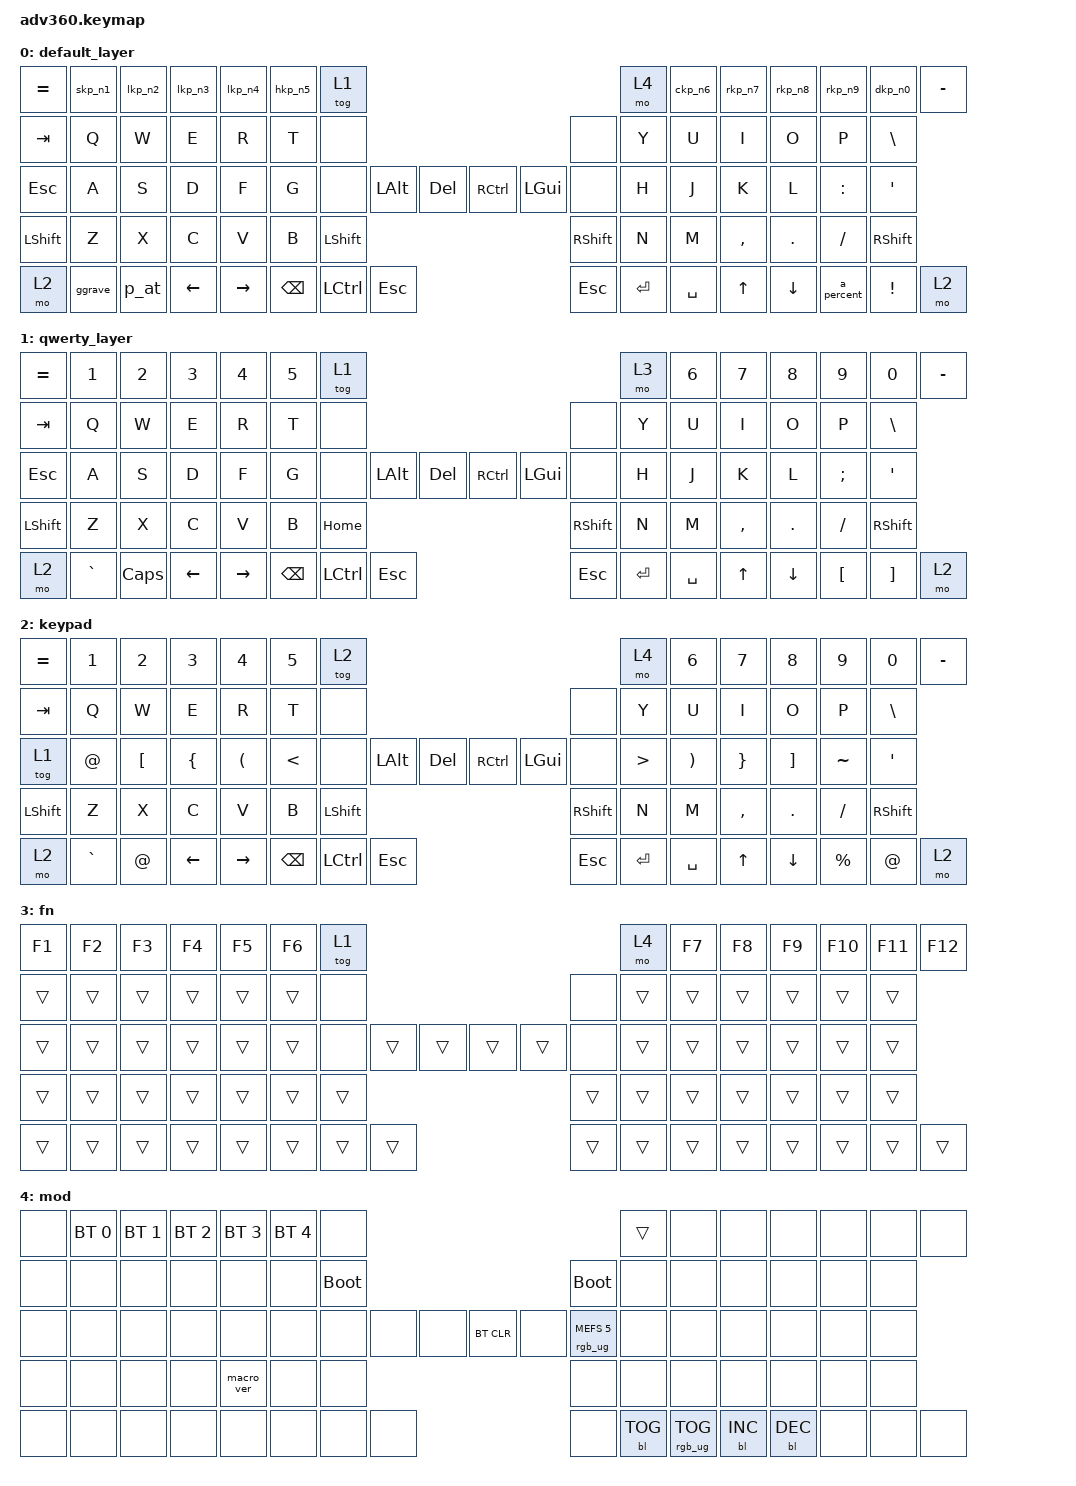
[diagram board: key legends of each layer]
#include <behaviors.dtsi>
#include <dt-bindings/zmk/keys.h>
#include <dt-bindings/zmk/bt.h>
#include <dt-bindings/zmk/rgb.h>
#include <dt-bindings/zmk/backlight.h>


&lt {
    tapping-term-ms = <400>;
};
/ {
    behaviors {
      #include "macros.dtsi"
      #include "version.dtsi"
      #ifndef VERSION_MACRO
      macro_ver: macro_ver {
        compatible = "zmk,behavior-macro";
        label = "macro_version";
        #binding-cells = <0>;
        bindings = <&kp RET>;
      };
      #endif

      hm: homerow_mods {
          compatible = "zmk,behavior-hold-tap";
          label = "HOMEROW_MODS";
          #binding-cells = <2>;
          tapping-term-ms = <200>;
          quick_tap_ms = <175>;
          flavor = "tap-preferred";
          bindings = <&kp>, <&kp>;
      };

skp_n1: star_kp_n1 {
    compatible = "zmk,behavior-mod-morph";
    label = "star_kp_n1";
    #binding-cells = <0>;
    bindings = <&kp STAR>, <&kp N1>;
    mods = <(MOD_LSFT|MOD_RSFT)>;
};
lkp_n2: left_bracket_kp_n2 {
    compatible = "zmk,behavior-mod-morph";
    label = "left_bracket_kp_n2";
    #binding-cells = <0>;
    bindings = <&kp LEFT_BRACKET>, <&kp N2>;
    mods = <(MOD_LSFT|MOD_RSFT)>;
};
lkp_n3: left_brace_kp_n3 {
    compatible = "zmk,behavior-mod-morph";
    label = "left_brace_kp_n3";
    #binding-cells = <0>;
    bindings = <&kp LEFT_BRACE>, <&kp N3>;
    mods = <(MOD_LSFT|MOD_RSFT)>;
};
lkp_n4: left_parenthesis_kp_n4 {
    compatible = "zmk,behavior-mod-morph";
    label = "left_parenthesis_kp_n4";
    #binding-cells = <0>;
    bindings = <&kp LEFT_PARENTHESIS>, <&kp N4>;
    mods = <(MOD_LSFT|MOD_RSFT)>;
};
hkp_n5: hash_kp_n5 {
    compatible = "zmk,behavior-mod-morph";
    label = "hash_kp_n5";
    #binding-cells = <0>;
    bindings = <&kp HASH>, <&kp N5>;
    mods = <(MOD_LSFT|MOD_RSFT)>;
};
ckp_n6: caret_kp_n6 {
    compatible = "zmk,behavior-mod-morph";
    label = "caret_kp_n6";
    #binding-cells = <0>;
    bindings = <&kp CARET>, <&kp N6>;
    mods = <(MOD_LSFT|MOD_RSFT)>;
};
rkp_n7: right_parenthesis_kp_n7 {
    compatible = "zmk,behavior-mod-morph";
    label = "right_parenthesis_kp_n7";
    #binding-cells = <0>;
    bindings = <&kp RIGHT_PARENTHESIS>, <&kp N7>;
    mods = <(MOD_LSFT|MOD_RSFT)>;
};
rkp_n8: right_brace_kp_n8 {
    compatible = "zmk,behavior-mod-morph";
    label = "right_brace_kp_n8";
    #binding-cells = <0>;
    bindings = <&kp RIGHT_BRACE>, <&kp N8>;
    mods = <(MOD_LSFT|MOD_RSFT)>;
};
rkp_n9: right_bracket_kp_n9 {
    compatible = "zmk,behavior-mod-morph";
    label = "right_bracket_kp_n9";
    #binding-cells = <0>;
    bindings = <&kp RIGHT_BRACKET>, <&kp N9>;
    mods = <(MOD_LSFT|MOD_RSFT)>;
};
dkp_n0: dollar_kp_n0 {
    compatible = "zmk,behavior-mod-morph";
    label = "dollar_kp_n0";
    #binding-cells = <0>;
    bindings = <&kp DOLLAR>, <&kp N0>;
    mods = <(MOD_LSFT|MOD_RSFT)>;
};
p_at: percent_kp_at {
    compatible = "zmk,behavior-mod-morph";
    label = "percent_kp_at";
    #binding-cells = <0>;
    bindings = <&kp PRCNT>, <&kp AT>;
    mods = <(MOD_LSFT|MOD_RSFT)>;
};
a_percent: ampersand_kp_percent {
    compatible = "zmk,behavior-mod-morph";
    label = "ampersand_kp_percent";
    #binding-cells = <0>;
    bindings = <&kp AMPERSAND>, <&kp PRCNT>;
    mods = <(MOD_LSFT|MOD_RSFT)>;
};
ggrave: grave_grave {
    compatible = "zmk,behavior-mod-morph";
    label = "grave_grave";
    #binding-cells = <0>;
    bindings = <&kp GRAVE>, <&kp GRAVE>;
    mods = <(MOD_LSFT|MOD_RSFT)>;
};
    };
 
  keymap {
    compatible = "zmk,keymap";

    default_layer {
      bindings = <
        &kp EQUAL &skp_n1   &lkp_n2  &lkp_n3  &lkp_n4     &hkp_n5  &tog 1                                                          &mo 4 &ckp_n6  &rkp_n7  &rkp_n8     &rkp_n9   &dkp_n0   &kp MINUS
        &kp TAB   &kp Q     &kp W    &kp E    &kp R      &kp T  &none                                                            &none &kp Y  &kp U  &kp I     &kp O    &kp P    &kp BSLH
        &kp ESC   &kp A     &kp S    &kp D    &kp F      &kp G  &none           &kp LALT &kp DEL &kp RCTRL  &kp LGUI             &none &kp H  &kp J  &kp K     &kp L    &kp COLON &kp SQT
        &kp LSHFT &kp Z     &kp X    &kp C    &kp V      &kp B                            &kp LSHFT &kp RSHFT                           &kp N  &kp M  &kp COMMA &kp DOT  &kp FSLH &kp RSHFT
        &mo 2     &ggrave &p_at  &kp LEFT &kp RIGHT                &kp BSPC &kp LCTRL   &kp ESC  &kp ESC &kp ENTER &kp SPACE              &kp UP &kp DOWN  &a_percent  &kp EXCLAMATION  &mo 2
      >;
    }; 
    qwerty_layer {
       bindings = <
        &kp EQUAL &kp N1    &kp N2   &kp N3   &kp N4     &kp N5 &tog 1                                                           &mo 3 &kp N6 &kp N7 &kp N8    &kp N9   &kp N0   &kp MINUS
        &kp TAB   &kp Q     &kp W    &kp E    &kp R      &kp T  &none                                                            &none &kp Y  &kp U  &kp I     &kp O    &kp P    &kp BSLH
        &kp ESC   &kp A     &kp S    &kp D    &kp F      &kp G  &none           &kp LALT &kp DEL &kp RCTRL  &kp LGUI           &none &kp H  &kp J  &kp K     &kp L    &kp SEMI &kp SQT
        &kp LSHFT &kp Z     &kp X    &kp C    &kp V      &kp B                            &kp HOME &kp RSHFT                           &kp N  &kp M  &kp COMMA &kp DOT  &kp FSLH &kp RSHFT
        &mo 2     &kp GRAVE &kp CAPS &kp LEFT &kp RIGHT                &kp BSPC &kp LCTRL   &kp ESC  &kp ESC &kp ENTER &kp SPACE              &kp UP &kp DOWN  &kp LBKT &kp RBKT &mo 2
      >;
    };
    keypad {
      bindings = <
        &kp EQUAL &kp N1    &kp N2   &kp N3   &kp N4     &kp N5 &tog 2                                                                                               &mo 4 &kp N6 &kp N7 &kp N8    &kp N9   &kp N0   &kp MINUS
        &kp TAB   &kp Q     &kp W    &kp E    &kp R      &kp T  &none                                                                                                    &none &kp Y  &kp U  &kp I     &kp O    &kp P    &kp BSLH
        &tog 1   &kp AT     &kp LBKT    &kp LEFT_BRACE    &kp LEFT_PARENTHESIS      &kp LESS_THAN  &none           &kp LALT &kp DEL &kp RCTRL  &kp LGUI           &none &kp GREATER_THAN  &kp RIGHT_PARENTHESIS  &kp RIGHT_BRACE     &kp RBKT    &kp TILDE &kp SQT
        &kp LSHFT &kp Z     &kp X    &kp C    &kp V      &kp B                                                                &kp LSHFT &kp RSHFT                           &kp N  &kp M  &kp COMMA &kp DOT  &kp FSLH &kp RSHFT
        &mo 2     &kp GRAVE &kp AT &kp LEFT &kp RIGHT                                                    &kp BSPC &kp LCTRL   &kp ESC  &kp ESC &kp ENTER &kp SPACE              &kp UP &kp DOWN  &kp PERCENT &kp AT &mo 2
     >;
    };
    fn {
      bindings = <
        &kp F1 &kp F2 &kp F3 &kp F4 &kp F5 &kp F6 &tog 1                                           &mo 4 &kp F7 &kp F8 &kp F9 &kp F10 &kp F11 &kp F12
        &trans &trans &trans &trans &trans &trans  &none                                           &none &trans &trans &trans &trans  &trans  &trans
        &trans &trans &trans &trans &trans &trans  &none        &trans &trans &trans &trans        &none &trans &trans &trans &trans  &trans  &trans
        &trans &trans &trans &trans &trans &trans                      &trans &trans                     &trans &trans &trans &trans  &trans  &trans
        &trans &trans &trans &trans &trans               &trans &trans &trans &trans &trans &trans              &trans &trans &trans  &trans  &trans
      >;
    };
    mod {
      bindings = <
        &none &bt BT_SEL 0 &bt BT_SEL 1 &bt BT_SEL 2 &bt BT_SEL 3 &bt BT_SEL 4 &none                                                                     &trans                 &none        &none        &none        &none &none &none
        &none &none        &none        &none        &none        &none        &bootloader                                                               &bootloader            &none        &none        &none        &none &none &none
        &none &none        &none        &none        &none        &none        &none                   &none &none &bt BT_CLR &none                      &rgb_ug RGB_MEFS_CMD 5 &none        &none        &none        &none &none &none
        &none &none        &none        &none        &macro_ver   &none                                      &none &none                                                        &none        &none        &none        &none &none &none
        &none &none        &none        &none        &none                                       &none &none &none &none      &bl BL_TOG &rgb_ug RGB_TOG                                     &bl BL_INC   &bl BL_DEC   &none &none &none
      >;
    };
  };
};
